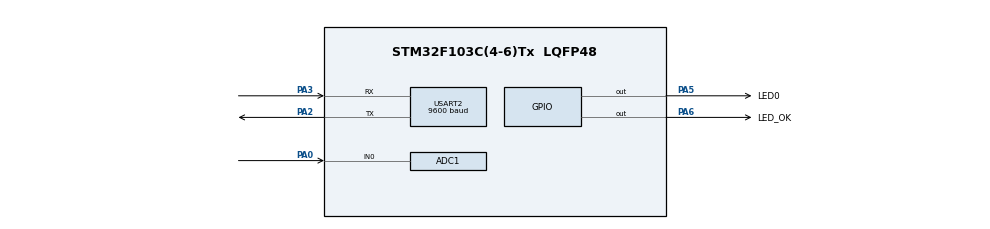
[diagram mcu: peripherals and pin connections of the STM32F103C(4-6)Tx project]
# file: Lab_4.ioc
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ADC1.Channel-0\#ChannelRegularConversion=ADC_CHANNEL_0
ADC1.ContinuousConvMode=ENABLE
ADC1.NbrOfConversionFlag=1
ADC1.Rank-0\#ChannelRegularConversion=1
ADC1.SamplingTime-0\#ChannelRegularConversion=ADC_SAMPLETIME_1CYCLE_5
ADC1.master=1
Mcu.Family=STM32F1
Mcu.Name=STM32F103C(4-6)Tx
Mcu.Package=LQFP48
NVIC.PriorityGroup=NVIC_PRIORITYGROUP_4
NVIC.TIM2_IRQn=true\:0\:0\:false\:false\:true\:true\:true\:true
NVIC.USART2_IRQn=true\:0\:0\:false\:false\:true\:true\:true\:true
PA0-WKUP.Signal=ADCx_IN0
PA2.Mode=Asynchronous
PA2.Signal=USART2_TX
PA3.Mode=Asynchronous
PA3.Signal=USART2_RX
PA5.GPIO_Label=LED0
PA5.Signal=GPIO_Output
PA6.GPIO_Label=LED_OK
PA6.Signal=GPIO_Output
ProjectManager.HeapSize=0x200
ProjectManager.StackSize=0x400
ProjectManager.TargetToolchain=STM32CubeIDE
RCC.APB1Freq_Value=8000000
RCC.APB2Freq_Value=8000000
SH.ADCx_IN0.0=ADC1_IN0,IN0
TIM2.Period=9
TIM2.Prescaler=7999
USART2.BaudRate=9600
USART2.VirtualMode=VM_ASYNC
VP_TIM2_VS_ClockSourceINT.Mode=Internal
board=custom

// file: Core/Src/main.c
/* USER CODE BEGIN Header */
/**
 ******************************************************************************
 * @file           : main.c
 * @brief          : Main program body
 ******************************************************************************
 * @attention
 *
 * Copyright (c) 2023 STMicroelectronics.
 * All rights reserved.
 *
 * This software is licensed under terms that can be found in the LICENSE file
 * in the root directory of this software component.
 * If no LICENSE file comes with this software, it is provided AS-IS.
 *
 ******************************************************************************
 */
/* USER CODE END Header */
#include "main.h"

/* USER CODE BEGIN Includes */
#include <stdio.h>
#include <string.h>
#include "timer.h"
/* USER CODE END Includes */

ADC_HandleTypeDef hadc1;

TIM_HandleTypeDef htim2;

UART_HandleTypeDef huart2;

void SystemClock_Config(void);
static void MX_GPIO_Init(void);
static void MX_USART2_UART_Init(void);
static void MX_ADC1_Init(void);
static void MX_TIM2_Init(void);

/* USER CODE BEGIN 0 */
#define MAX_BUFFER_SIZE 50
enum InputStates
{
	WAIT,
	SAVE_STR,
	TRIGGER_UART
};
enum UARTStates
{
	WAIT_TRIGGER,
	IS_TRIGGERED
};
int buffer_flag = 0;
int command_flag = 0;
uint8_t inputChar = 0;
int current_input_state = WAIT;
int current_UART_state = WAIT_TRIGGER;
uint8_t str_RST[] = "RST";
uint8_t str_OK[] = "OK";
uint8_t buffer[MAX_BUFFER_SIZE];
uint8_t command[MAX_BUFFER_SIZE];
uint8_t str[MAX_BUFFER_SIZE];
int index_buffer = 0;
int index_command = 0;
void command_parser_fsm(void);
void uart_communiation_fsm(void);

/* USER CODE END 0 */

int main(void)
{

  /* MCU Configuration--------------------------------------------------------*/

  /* Reset of all peripherals, Initializes the Flash interface and the Systick. */
  HAL_Init();

  /* Configure the system clock */
  SystemClock_Config();

  /* Initialize all configured peripherals */
  MX_GPIO_Init();
  MX_USART2_UART_Init();
  MX_ADC1_Init();
  MX_TIM2_Init();
  /* USER CODE BEGIN 2 */
  HAL_UART_Receive_IT(&huart2, &inputChar, 1);
  HAL_TIM_Base_Start_IT(&htim2);
  /* USER CODE END 2 */

  /* Infinite loop */
  /* USER CODE BEGIN WHILE */
	while (1) {
		if (buffer_flag == 1) {
			command_parser_fsm();
			buffer_flag = 0;
		}

////		if(timer1_flag == 1){
////			setTimer1(1000);
//			HAL_GPIO_TogglePin(LED_OK_GPIO_Port, LED_OK_Pin);
//			HAL_ADC_Start(&hadc1);
//			uint8_t ADC_value = HAL_ADC_GetValue(&hadc1);
//			HAL_UART_Transmit(&huart2, (uint8_t*) str, sprintf((char*)str, "!%d# \r\n", ADC_value), 500);
////		}
    /* USER CODE END WHILE */

	}
}

void SystemClock_Config(void)
{
  RCC_OscInitTypeDef RCC_OscInitStruct = {0};
  RCC_ClkInitTypeDef RCC_ClkInitStruct = {0};
  RCC_PeriphCLKInitTypeDef PeriphClkInit = {0};

  /** Initializes the RCC Oscillators according to the specified parameters
  * in the RCC_OscInitTypeDef structure.
  */
  RCC_OscInitStruct.OscillatorType = RCC_OSCILLATORTYPE_HSI;
  RCC_OscInitStruct.HSIState = RCC_HSI_ON;
  RCC_OscInitStruct.HSICalibrationValue = RCC_HSICALIBRATION_DEFAULT;
  RCC_OscInitStruct.PLL.PLLState = RCC_PLL_NONE;
  if (HAL_RCC_OscConfig(&RCC_OscInitStruct) != HAL_OK)
  {
    Error_Handler();
  }

  /** Initializes the CPU, AHB and APB buses clocks
  */
  RCC_ClkInitStruct.ClockType = RCC_CLOCKTYPE_HCLK|RCC_CLOCKTYPE_SYSCLK
                              |RCC_CLOCKTYPE_PCLK1|RCC_CLOCKTYPE_PCLK2;
  RCC_ClkInitStruct.SYSCLKSource = RCC_SYSCLKSOURCE_HSI;
  RCC_ClkInitStruct.AHBCLKDivider = RCC_SYSCLK_DIV1;
  RCC_ClkInitStruct.APB1CLKDivider = RCC_HCLK_DIV1;
  RCC_ClkInitStruct.APB2CLKDivider = RCC_HCLK_DIV1;

  if (HAL_RCC_ClockConfig(&RCC_ClkInitStruct, FLASH_LATENCY_0) != HAL_OK)
  {
    Error_Handler();
  }
  PeriphClkInit.PeriphClockSelection = RCC_PERIPHCLK_ADC;
  PeriphClkInit.AdcClockSelection = RCC_ADCPCLK2_DIV2;
  if (HAL_RCCEx_PeriphCLKConfig(&PeriphClkInit) != HAL_OK)
  {
    Error_Handler();
  }
}

static void MX_ADC1_Init(void)
{

  ADC_ChannelConfTypeDef sConfig = {0};

  /** Common config
  */
  hadc1.Instance = ADC1;
  hadc1.Init.ScanConvMode = ADC_SCAN_DISABLE;
  hadc1.Init.ContinuousConvMode = ENABLE;
  hadc1.Init.DiscontinuousConvMode = DISABLE;
  hadc1.Init.ExternalTrigConv = ADC_SOFTWARE_START;
  hadc1.Init.DataAlign = ADC_DATAALIGN_RIGHT;
  hadc1.Init.NbrOfConversion = 1;
  if (HAL_ADC_Init(&hadc1) != HAL_OK)
  {
    Error_Handler();
  }

  /** Configure Regular Channel
  */
  sConfig.Channel = ADC_CHANNEL_0;
  sConfig.Rank = ADC_REGULAR_RANK_1;
  sConfig.SamplingTime = ADC_SAMPLETIME_1CYCLE_5;
  if (HAL_ADC_ConfigChannel(&hadc1, &sConfig) != HAL_OK)
  {
    Error_Handler();
  }

}

static void MX_TIM2_Init(void)
{

  TIM_ClockConfigTypeDef sClockSourceConfig = {0};
  TIM_MasterConfigTypeDef sMasterConfig = {0};

  htim2.Instance = TIM2;
  htim2.Init.Prescaler = 7999;
  htim2.Init.CounterMode = TIM_COUNTERMODE_UP;
  htim2.Init.Period = 9;
  htim2.Init.ClockDivision = TIM_CLOCKDIVISION_DIV1;
  htim2.Init.AutoReloadPreload = TIM_AUTORELOAD_PRELOAD_DISABLE;
  if (HAL_TIM_Base_Init(&htim2) != HAL_OK)
  {
    Error_Handler();
  }
  sClockSourceConfig.ClockSource = TIM_CLOCKSOURCE_INTERNAL;
  if (HAL_TIM_ConfigClockSource(&htim2, &sClockSourceConfig) != HAL_OK)
  {
    Error_Handler();
  }
  sMasterConfig.MasterOutputTrigger = TIM_TRGO_RESET;
  sMasterConfig.MasterSlaveMode = TIM_MASTERSLAVEMODE_DISABLE;
  if (HAL_TIMEx_MasterConfigSynchronization(&htim2, &sMasterConfig) != HAL_OK)
  {
    Error_Handler();
  }

}

static void MX_USART2_UART_Init(void)
{

  huart2.Instance = USART2;
  huart2.Init.BaudRate = 9600;
  huart2.Init.WordLength = UART_WORDLENGTH_8B;
  huart2.Init.StopBits = UART_STOPBITS_1;
  huart2.Init.Parity = UART_PARITY_NONE;
  huart2.Init.Mode = UART_MODE_TX_RX;
  huart2.Init.HwFlowCtl = UART_HWCONTROL_NONE;
  huart2.Init.OverSampling = UART_OVERSAMPLING_16;
  if (HAL_UART_Init(&huart2) != HAL_OK)
  {
    Error_Handler();
  }

}

static void MX_GPIO_Init(void)
{
  GPIO_InitTypeDef GPIO_InitStruct = {0};

  /* GPIO Ports Clock Enable */
  __HAL_RCC_GPIOA_CLK_ENABLE();

  /*Configure GPIO pin Output Level */
  HAL_GPIO_WritePin(GPIOA, LED0_Pin|LED_OK_Pin, GPIO_PIN_RESET);

  /*Configure GPIO pins : LED0_Pin LED_OK_Pin */
  GPIO_InitStruct.Pin = LED0_Pin|LED_OK_Pin;
  GPIO_InitStruct.Mode = GPIO_MODE_OUTPUT_PP;
  GPIO_InitStruct.Pull = GPIO_NOPULL;
  GPIO_InitStruct.Speed = GPIO_SPEED_FREQ_LOW;
  HAL_GPIO_Init(GPIOA, &GPIO_InitStruct);

}

/* USER CODE BEGIN 4 */

void resetBuffer(){
	index_buffer = 0;
	command_flag = 0;
	for(int i = 0; i<MAX_BUFFER_SIZE;i++) buffer[i] = 0;
}
void resetCommand(){
	for (int i = 0 ; i < index_command;i++){
		command[i] = 0;
	}
	command_flag = 0;
	index_command = 0;
}
int compareStr(uint8_t* template, uint8_t* input){
	int comp_res = strcmp((char*)template, (char*)input);
	if(comp_res == 0) return 1;
	return 0;
}
void command_parser_fsm(){
	switch(current_input_state){
	case WAIT:
		resetBuffer();
		if(inputChar == '!'){
			current_input_state = SAVE_STR;
		}
		break;
	case SAVE_STR:
		if(inputChar == '!') current_input_state = WAIT;
		else if(inputChar == '#') current_input_state = TRIGGER_UART;
		else{
			buffer[index_buffer] = inputChar;
			index_buffer++;
			index_buffer %= MAX_BUFFER_SIZE;
		}
		break;
	case TRIGGER_UART:
		for (index_command = 0 ;index_command < index_buffer;index_command++){
			command[index_command] = buffer[index_command];
		}
		command_flag = 1;
		current_input_state = WAIT;
		break;
	default:
		break;
	}
}
void uart_communiation_fsm(){
	switch(current_UART_state){
	case WAIT_TRIGGER:
		if(command_flag == 1){
			int compare_res = compareStr(str_RST, command);
			if(compare_res == 1){
				setTimer1(100);
				HAL_GPIO_TogglePin(LED_OK_GPIO_Port, LED_OK_Pin);
				current_UART_state = IS_TRIGGERED;
			}
			resetCommand();
		}
		break;
	case IS_TRIGGERED:
		if(command_flag == 1){
			int compare_res = compareStr(str_OK, command);
			HAL_UART_Transmit(&huart2, (uint8_t*) "OK DONE", 10, 100);
			if(compare_res == 1){
				HAL_GPIO_TogglePin(LED_OK_GPIO_Port, LED_OK_Pin);
				current_UART_state = WAIT_TRIGGER;
				resetCommand();
			}
		}
		if(timer1_flag == 1){
			setTimer1(2000);
			HAL_GPIO_TogglePin(LED_OK_GPIO_Port, LED_OK_Pin);
			HAL_ADC_Start(&hadc1);
			uint8_t ADC_value = HAL_ADC_GetValue(&hadc1);
			HAL_UART_Transmit(&huart2, (uint8_t*) str, sprintf((char*)str, "!%d# \r\n", ADC_value), 100);
		}
		break;
	}
}
void HAL_UART_RxCpltCallback(UART_HandleTypeDef *huart) {
	if (huart->Instance == USART2) {
		HAL_GPIO_TogglePin(LED0_GPIO_Port, LED0_Pin);
		HAL_UART_Transmit(&huart2, &inputChar, 1, 50);
		buffer_flag = 1;
		HAL_UART_Receive_IT(&huart2, &inputChar, 1);
	}
}
void HAL_TIM_PeriodElapsedCallback(TIM_HandleTypeDef *htim) {
	timerRun();
	uart_communiation_fsm();
}
/* USER CODE END 4 */

void Error_Handler(void)
{
	__disable_irq();
	while (1) {
	}
}
